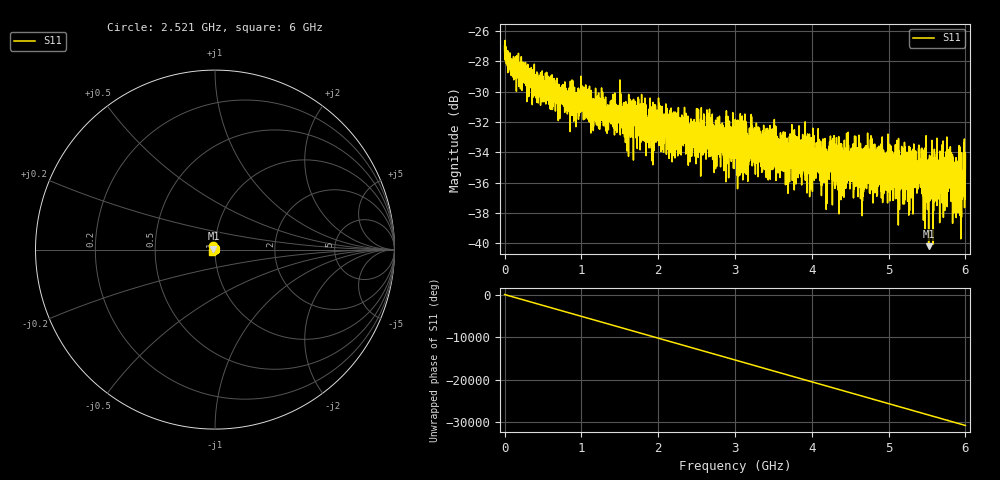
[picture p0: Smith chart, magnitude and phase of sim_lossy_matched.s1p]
! AntennaFox export: Lossy but matched load (simulated) (sample-sim_lossy_matched)
! Instrument: AntennaFox,Simulator,SIM-0001,1.0
! Calibration (instrument-reported): SOLT_1 (simulated)
! Simulated: True
! Segment: Overview
# HZ S RI R 50
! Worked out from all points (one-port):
!   4501 points, 100 kHz to 6 GHz, reference 50 ohm
!   lowest |S11| = -40.2 dB at 5.521 GHz (marker M1), VSWR 1.02, Z = 49.2 + j0.491 ohm
!   |S11| at or under -10 dB: start of sweep to end of sweep
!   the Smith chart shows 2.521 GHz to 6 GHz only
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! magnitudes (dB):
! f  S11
! 100 kHz  -27.0
! 90.77 MHz  -27.8
! 420.1 MHz  -28.7
! 750.8 MHz  -29.9
! 1.339 GHz  -32.0
! 1.5 GHz  -31.9
! 2.251 GHz  -32.8
! 3 GHz  -32.6
! 3.212 GHz  -33.1
! 3.247 GHz  -34.3
! 3.305 GHz  -33.0
! 3.407 GHz  -35.7
! 3.464 GHz  -35.1
! 3.751 GHz  -33.7
! 3.9 GHz  -35.2
! 3.961 GHz  -33.8
! 4.088 GHz  -34.4
! 4.199 GHz  -37.2
! 4.237 GHz  -33.8
! 4.384 GHz  -34.3
! 4.5 GHz  -35.5
! 5.251 GHz  -35.5
! 5.42 GHz  -35.3
! 5.521 GHz  -40.2
! 5.797 GHz  -36.1
! 5.925 GHz  -37.8
! 5.968 GHz  -35.6
! 6 GHz  -34.2
